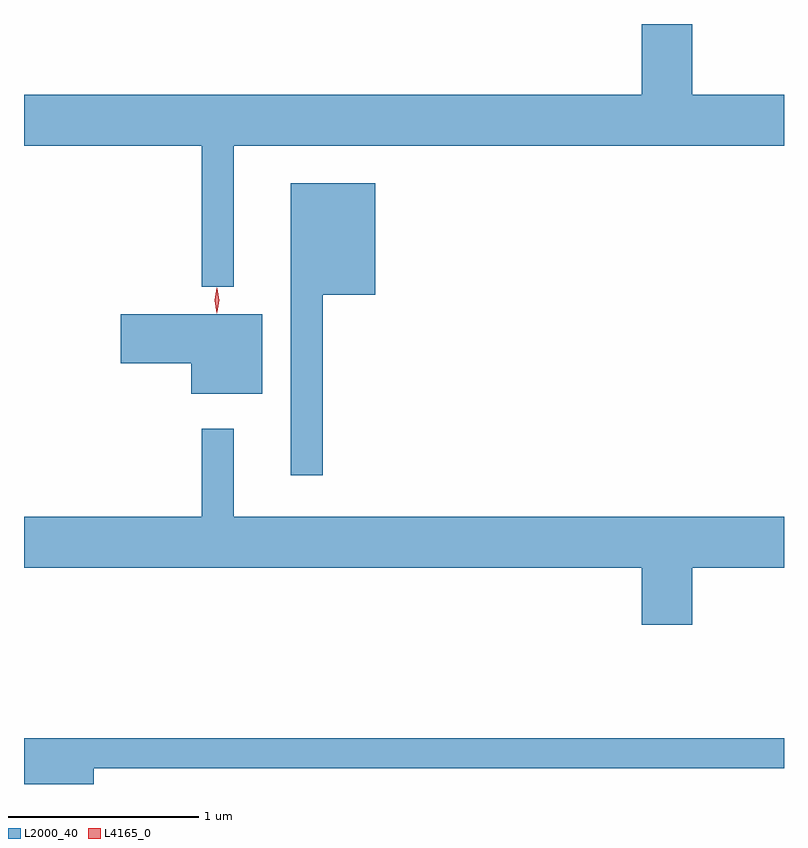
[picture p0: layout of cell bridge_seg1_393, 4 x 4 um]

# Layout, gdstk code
import gdstk
lib = gdstk.Library(unit=1e-6, precision=1e-09)
def P(c, l, *ps):  # polygons
    for p in ps: c.add(gdstk.Polygon(p, *l))
L2000_40 = (2000, 40)
L4165_0 = (4165, 0)

bridge_seg1_393 = lib.new_cell('bridge_seg1_393')
P(bridge_seg1_393, L2000_40, [(552.589,937.316),(555.486,937.316),(555.486,937.584),(555.004,937.584),(555.004,937.957),(554.736,937.957),(554.736,937.584),(551.486,937.584),(551.486,937.316),(552.421,937.316),(552.421,936.573),(552.589,936.573)],
  [(553.059,936.531),(553.334,936.531),(553.334,937.119),(552.891,937.119),(552.891,935.583),(553.059,935.583)],
  [(552.739,936.429),(551.996,936.429),(551.996,936.171),(552.366,936.171),(552.366,936.011),(552.739,936.011)],
  [(555.004,935.096),(555.486,935.096),(555.486,935.364),(552.589,935.364),(552.589,935.828),(552.421,935.828),(552.421,935.364),(551.486,935.364),(551.486,935.096),(554.736,935.096),(554.736,934.796),(555.004,934.796)],
  [(551.854,934.041),(555.486,934.041),(555.486,934.199),(551.486,934.199),(551.486,933.957),(551.854,933.957)])
P(bridge_seg1_393, L4165_0, [(552.5,936.434),(552.5,936.434),(552.49,936.502),(552.5,936.57),(552.5,936.57),(552.501,936.57),(552.51,936.502),(552.501,936.434)],
  [(552.502,936.44),(552.493,936.503),(552.502,936.566),(552.503,936.567),(552.503,936.566),(552.513,936.503),(552.503,936.44),(552.503,936.44)])

lib.write_gds('bridge_seg1_393.gds')
